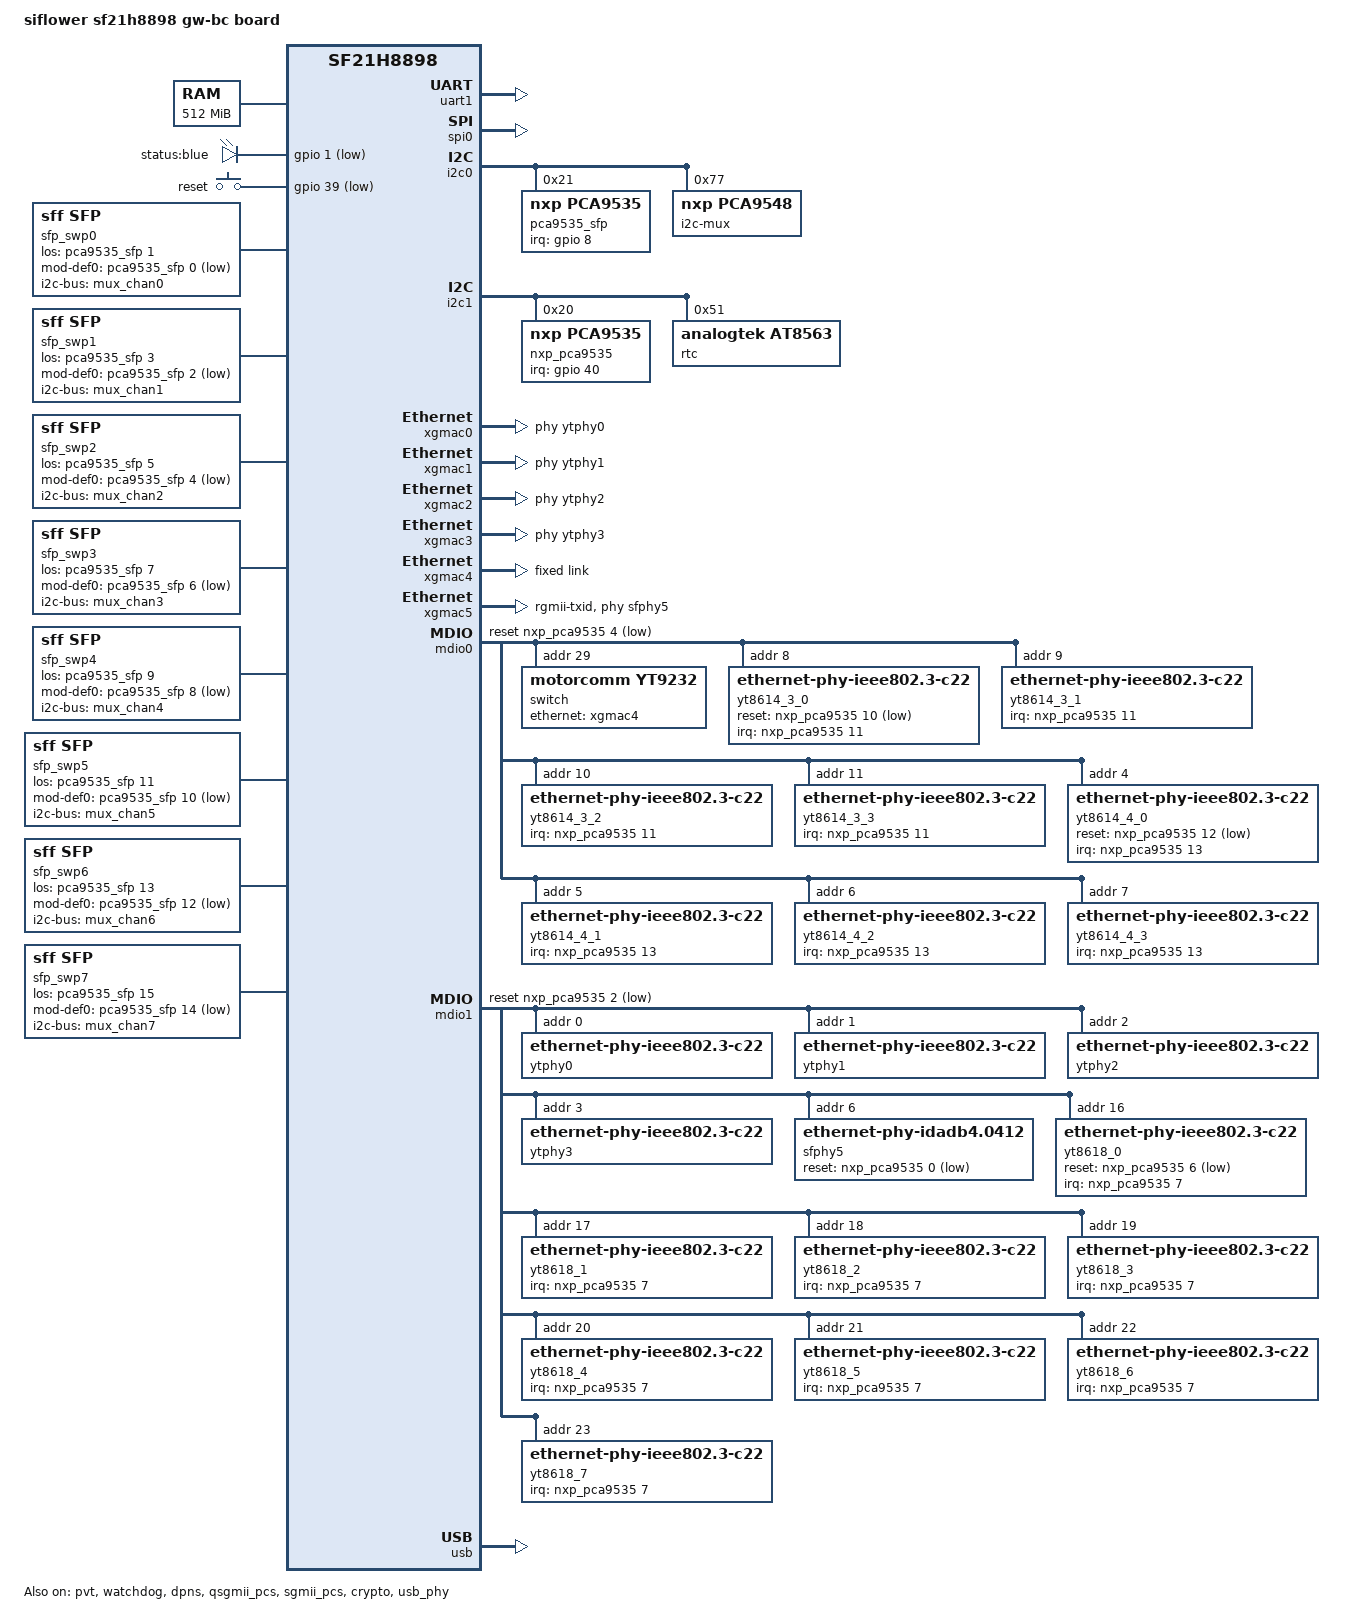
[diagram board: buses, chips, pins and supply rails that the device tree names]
/*
 * Copyright 2022 SiFlower Corporation.
 */

#include "sf21h8898.dtsi"

/ {
	model = "siflower sf21h8898 gw-bc board";
	compatible = "siflower,sf21h8898-gw-bc-nand", "siflower,sf21h8898";
	aliases {
		i2c0 = &i2c0;
		i2c1 = &i2c1;
		i2c2 = &mux_chan0;
		i2c3 = &mux_chan1;
		i2c4 = &mux_chan2;
		i2c5 = &mux_chan3;
		i2c6 = &mux_chan4;
		i2c7 = &mux_chan5;
		i2c8 = &mux_chan6;
		i2c9 = &mux_chan7;
	};

	chosen {
		stdout-path = "serial1:115200n8";
	};

	memory@20000000 {
		device_type = "memory";
		reg = <0x0 0x20000000 0x0 0x20000000>;
	};

	leds {
		compatible = "gpio-leds";

		led_status: led-status {
			label = "status:blue";
			gpios = <&gpio 1 GPIO_ACTIVE_LOW>;
		};
	};

	gpio_keys {
		compatible = "gpio-keys";
		reset {
			label = "reset";
			linux,code = <KEY_RESTART>;
			gpios = <&gpio 39 GPIO_ACTIVE_LOW>;
			debounce-interval = <20>;
		};
	};

	sfp_swp0: sfp-swp0 {
		compatible = "sff,sfp";
		i2c-bus = <&mux_chan0>;
		los-gpios = <&pca9535_sfp 1 GPIO_ACTIVE_HIGH>;
		mod-def0-gpios = <&pca9535_sfp 0 GPIO_ACTIVE_LOW>;
	};

	sfp_swp1: sfp-swp1 {
		compatible = "sff,sfp";
		i2c-bus = <&mux_chan1>;
		los-gpios = <&pca9535_sfp 3 GPIO_ACTIVE_HIGH>;
		mod-def0-gpios = <&pca9535_sfp 2 GPIO_ACTIVE_LOW>;
	};

	sfp_swp2: sfp-swp2 {
		compatible = "sff,sfp";
		i2c-bus = <&mux_chan2>;
		los-gpios = <&pca9535_sfp 5 GPIO_ACTIVE_HIGH>;
		mod-def0-gpios = <&pca9535_sfp 4 GPIO_ACTIVE_LOW>;
	};

	sfp_swp3: sfp-swp3 {
		compatible = "sff,sfp";
		i2c-bus = <&mux_chan3>;
		los-gpios = <&pca9535_sfp 7 GPIO_ACTIVE_HIGH>;
		mod-def0-gpios = <&pca9535_sfp 6 GPIO_ACTIVE_LOW>;
	};

	sfp_swp4: sfp-swp4 {
		compatible = "sff,sfp";
		i2c-bus = <&mux_chan4>;
		los-gpios = <&pca9535_sfp 9 GPIO_ACTIVE_HIGH>;
		mod-def0-gpios = <&pca9535_sfp 8 GPIO_ACTIVE_LOW>;
	};

	sfp_swp5: sfp-swp5 {
		compatible = "sff,sfp";
		i2c-bus = <&mux_chan5>;
		los-gpios = <&pca9535_sfp 11 GPIO_ACTIVE_HIGH>;
		mod-def0-gpios = <&pca9535_sfp 10 GPIO_ACTIVE_LOW>;
	};

	sfp_swp6: sfp-swp6 {
		compatible = "sff,sfp";
		i2c-bus = <&mux_chan6>;
		los-gpios = <&pca9535_sfp 13 GPIO_ACTIVE_HIGH>;
		mod-def0-gpios = <&pca9535_sfp 12 GPIO_ACTIVE_LOW>;
	};

	sfp_swp7: sfp-swp7 {
		compatible = "sff,sfp";
		i2c-bus = <&mux_chan7>;
		los-gpios = <&pca9535_sfp 15 GPIO_ACTIVE_HIGH>;
		mod-def0-gpios = <&pca9535_sfp 14 GPIO_ACTIVE_LOW>;
	};
};

&pvt {
	status = "okay";
};

&pcie0 {
	reset-gpios = <&gpio 9 GPIO_ACTIVE_LOW>;
	reset-ms = <100>;
	num-lanes = <1>;
	lane-mode = <0>;
	status = "disabled";
};

&watchdog {
	status = "okay";
};

&uart1 {
	status = "okay";
};

&spi0 {
	status = "okay";
};

&iomux {
	pca9535_int_gpio: pca9535-int-pins {
		pinctrl-single,pins = <PHY_INT GPIO_MODE>;
		// disable internal bias as it's externally (and weakly) pulled up
		pinctrl-single,bias-pullup = <0 SW_PU 0 SW_PU>;
		pinctrl-single,bias-pulldown = <0 SW_PD 0 SW_PD>;
	};
	pca9535_jtag_gpio: pca9535-jtag-pins {
		pinctrl-single,pins = <JTAG_TDO GPIO_MODE>;
		// disable internal bias as it's externally (and weakly) pulled up
		pinctrl-single,bias-pullup = <0 SW_PU 0 SW_PU>;
		pinctrl-single,bias-pulldown = <0 SW_PD 0 SW_PD>;
	};

};

&i2c0 {
	status = "okay";

	pca9535_sfp:gpio@21 {
		compatible = "nxp,pca9535";
		reg = <0x21>;
		gpio-controller;
		#gpio-cells =<2>;

		interrupt-controller;
		interrupts-extended = <&gpio 8 IRQ_TYPE_LEVEL_LOW>;
		#interrupt-cells = <2>;

		pinctrl-names = "default";
		pinctrl-0 = <&pca9535_jtag_gpio>;
	};

	i2c-mux@77 {
		compatible = "nxp,pca9548";
		reg = <0x77>;
		#address-cells = <1>;
		#size-cells = <0>;
		i2c-mux-idle-disconnect;

		mux_chan0: i2c@0 {
			reg = <0>;
			#address-cells = <1>;
			#size-cells = <0>;
		};

		mux_chan1: i2c@1 {
			reg = <1>;
			#address-cells = <1>;
			#size-cells = <0>;
		};

		mux_chan2: i2c@2 {
			reg = <2>;
			#address-cells = <1>;
			#size-cells = <0>;
		};

		mux_chan3: i2c@3 {
			reg = <3>;
			#address-cells = <1>;
			#size-cells = <0>;
		};

		mux_chan4: i2c@4 {
			reg = <4>;
			#address-cells = <1>;
			#size-cells = <0>;
		};

		mux_chan5: i2c@5 {
			reg = <5>;
			#address-cells = <1>;
			#size-cells = <0>;
		};

		mux_chan6: i2c@6 {
			reg = <6>;
			#address-cells = <1>;
			#size-cells = <0>;
		};

		mux_chan7: i2c@7 {
			reg = <7>;
			#address-cells = <1>;
			#size-cells = <0>;
		};
	};

};

&i2c1 {
	status = "okay";

	nxp_pca9535:gpio@20 {
		compatible = "nxp,pca9535";
		reg = <0x20>;
		gpio-controller;
		#gpio-cells =<2>;

		interrupt-controller;
		interrupts-extended = <&gpio 40 IRQ_TYPE_LEVEL_LOW>;
		#interrupt-cells = <2>;

		pinctrl-names = "default";
		pinctrl-0 = <&pca9535_int_gpio>;
	};

	rtc: rtc@51 {
		compatible = "analogtek,at8563", "nxp,pcf8563";
		reg = <0x51>;
		#clock-cells = <0>;
		// PCA9535 doesn't support level interrupt.
		// RTC alarm is useless for this board anyway.
		// interrupts-extended = <&nxp_pca9535 14 IRQ_TYPE_LEVEL_LOW>;
	};
};


&xgmac0 {
	status = "okay";
	phy-handle = <&ytphy0>;
	nvmem-cells = <&mtd_mac_address>;
	nvmem-cell-names = "mac-address";
};

&xgmac1 {
	status = "okay";
	phy-handle = <&ytphy1>;
	nvmem-cells = <&mtd_mac_address>;
	nvmem-cell-names = "mac-address";
};

&xgmac2 {
	status = "okay";
	phy-handle = <&ytphy2>;
	nvmem-cells = <&mtd_mac_address>;
	nvmem-cell-names = "mac-address";
};

&xgmac3 {
	status = "okay";
	phy-handle = <&ytphy3>;
	nvmem-cells = <&mtd_mac_address>;
	nvmem-cell-names = "mac-address";
};

&xgmac4 {
	status = "okay";
	nvmem-cells = <&mtd_mac_address>;
	nvmem-cell-names = "mac-address";

	fixed-link {
		speed = <2500>;
		full-duplex;
		pause;
		asym-pause;
	};
};

&xgmac5 {
	status = "okay";
	tx-internal-delay-ps = <2401>;
	rx-internal-delay-ps = <1372>;
	phy-mode = "rgmii-txid";
	phy-handle = <&sfphy5>;
	nvmem-cells = <&mtd_mac_address>;
	nvmem-cell-names = "mac-address";
	mac-address-increment = <1>;
};

&mdio0 {
	status = "okay";

	reset-gpios = <&nxp_pca9535 4 GPIO_ACTIVE_LOW>;
	reset-delay-us = <10000>;
	reset-post-delay-us = <100000>;

	switch@1d {
		compatible = "motorcomm,yt9232";
		reg = <0x1d>;

		ports {
			#address-cells = <1>;
			#size-cells = <0>;

			port@0 {
				reg = <0x0>;
				phy-handle = <&yt8618_0>;
			};

			port@1 {
				reg = <0x1>;
				phy-handle = <&yt8618_1>;
			};

			port@2 {
				reg = <0x2>;
				phy-handle = <&yt8618_2>;
			};

			port@3 {
				reg = <0x3>;
				phy-handle = <&yt8618_3>;
			};

			port@4 {
				reg = <0x4>;
				phy-handle = <&yt8618_4>;
			};

			port@5 {
				reg = <0x5>;
				phy-handle = <&yt8618_5>;
			};

			port@6 {
				reg = <0x6>;
				phy-handle = <&yt8618_6>;
			};

			port@7 {
				reg = <0x7>;
				phy-handle = <&yt8618_7>;
			};

			port@8 {
				reg = <0x8>;
			};

			port@9 {
				reg = <0x9>;
			};

			port@a {
				reg = <0xa>;
			};

			port@b {
				reg = <0xb>;
			};

			port@c {
				reg = <0xc>;
			};

			port@d {
				reg = <0xd>;
			};

			port@e {
				reg = <0xe>;
			};

			port@f {
				reg = <0xf>;
			};

			port@10 {
				reg = <0x10>;
				phy-handle = <&yt8614_3_0>;
			};

			port@11 {
				reg = <0x11>;
				phy-handle = <&yt8614_3_1>;
			};

			port@12 {
				reg = <0x12>;
				phy-handle = <&yt8614_3_2>;
			};

			port@13 {
				reg = <0x13>;
				phy-handle = <&yt8614_3_3>;
			};

			port@14 {
				reg = <0x14>;
				phy-handle = <&yt8614_4_0>;
			};

			port@15 {
				reg = <0x15>;
				phy-handle = <&yt8614_4_1>;
			};

			port@16 {
				reg = <0x16>;
				phy-handle = <&yt8614_4_2>;
			};

			port@17 {
				reg = <0x17>;
				phy-handle = <&yt8614_4_3>;
			};

			port@18 {
				reg = <0x18>;
				ethernet = <&xgmac4>;
			};
		};
	};

	yt8614_3_0: ethernet-phy@8 {
		compatible = "ethernet-phy-ieee802.3-c22";
		interrupts-extended = <&nxp_pca9535 11 IRQ_TYPE_EDGE_FALLING>;
		reg = <0x8>;
		reset-gpios = <&nxp_pca9535 10 GPIO_ACTIVE_LOW>;
		reset-delay-us = <10000>;
		reset-post-delay-us = <100000>;
	};

	yt8614_3_1: ethernet-phy@9 {
		compatible = "ethernet-phy-ieee802.3-c22";
		interrupts-extended = <&nxp_pca9535 11 IRQ_TYPE_EDGE_FALLING>;
		reg = <0x9>;
	};

	yt8614_3_2: ethernet-phy@a {
		compatible = "ethernet-phy-ieee802.3-c22";
		interrupts-extended = <&nxp_pca9535 11 IRQ_TYPE_EDGE_FALLING>;
		reg = <0xa>;
	};

	yt8614_3_3: ethernet-phy@b {
		compatible = "ethernet-phy-ieee802.3-c22";
		interrupts-extended = <&nxp_pca9535 11 IRQ_TYPE_EDGE_FALLING>;
		reg = <0xb>;
	};

	yt8614_4_0: ethernet-phy@4 {
		compatible = "ethernet-phy-ieee802.3-c22";
		interrupts-extended = <&nxp_pca9535 13 IRQ_TYPE_EDGE_FALLING>;
		reg = <0x4>;
		reset-gpios = <&nxp_pca9535 12 GPIO_ACTIVE_LOW>;
		reset-delay-us = <10000>;
		reset-post-delay-us = <100000>;
	};

	yt8614_4_1: ethernet-phy@5 {
		compatible = "ethernet-phy-ieee802.3-c22";
		interrupts-extended = <&nxp_pca9535 13 IRQ_TYPE_EDGE_FALLING>;
		reg = <0x5>;
	};

	yt8614_4_2: ethernet-phy@6 {
		compatible = "ethernet-phy-ieee802.3-c22";
		interrupts-extended = <&nxp_pca9535 13 IRQ_TYPE_EDGE_FALLING>;
		reg = <0x6>;
	};

	yt8614_4_3: ethernet-phy@7 {
		compatible = "ethernet-phy-ieee802.3-c22";
		interrupts-extended = <&nxp_pca9535 13 IRQ_TYPE_EDGE_FALLING>;
		reg = <0x7>;
	};
};

&mdio1 {
	status = "okay";

	reset-gpios = <&nxp_pca9535 2 GPIO_ACTIVE_LOW>;
	reset-delay-us = <10000>;
	reset-post-delay-us = <100000>;

	ytphy0: ethernet-phy@0 {
		compatible = "ethernet-phy-ieee802.3-c22";
		reg = <0x0>;
	};

	ytphy1: ethernet-phy@1 {
		compatible = "ethernet-phy-ieee802.3-c22";
		reg = <0x1>;
	};

	ytphy2: ethernet-phy@2 {
		compatible = "ethernet-phy-ieee802.3-c22";
		reg = <0x2>;
	};

	ytphy3: ethernet-phy@3 {
		compatible = "ethernet-phy-ieee802.3-c22";
		reg = <0x3>;
	};

	sfphy5: ethernet-phy@6 {
		compatible = "ethernet-phy-idadb4.0412";
		reg = <0x6>;
		reset-gpios = <&nxp_pca9535 0 GPIO_ACTIVE_LOW>;
		reset-assert-us = <10000>;
		reset-deassert-us = <100000>;
	};

	yt8618_0:ethernet-phy@10 {
		compatible = "ethernet-phy-ieee802.3-c22";
		interrupts-extended = <&nxp_pca9535 7 IRQ_TYPE_EDGE_FALLING>;
		reg = <0x10>;
		reset-gpios = <&nxp_pca9535 6 GPIO_ACTIVE_LOW>;
		reset-assert-us = <10000>;
		reset-deassert-us = <100000>;
	};

	yt8618_1:ethernet-phy@11 {
		compatible = "ethernet-phy-ieee802.3-c22";
		interrupts-extended = <&nxp_pca9535 7 IRQ_TYPE_EDGE_FALLING>;
		reg = <0x11>;
	};

	yt8618_2:ethernet-phy@12 {
		compatible = "ethernet-phy-ieee802.3-c22";
		interrupts-extended = <&nxp_pca9535 7 IRQ_TYPE_EDGE_FALLING>;
		reg = <0x12>;
	};

	yt8618_3:ethernet-phy@13 {
		compatible = "ethernet-phy-ieee802.3-c22";
		interrupts-extended = <&nxp_pca9535 7 IRQ_TYPE_EDGE_FALLING>;
		reg = <0x13>;
	};

	yt8618_4:ethernet-phy@14 {
		compatible = "ethernet-phy-ieee802.3-c22";
		interrupts-extended = <&nxp_pca9535 7 IRQ_TYPE_EDGE_FALLING>;
		reg = <0x14>;
	};

	yt8618_5:ethernet-phy@15 {
		compatible = "ethernet-phy-ieee802.3-c22";
		interrupts-extended = <&nxp_pca9535 7 IRQ_TYPE_EDGE_FALLING>;
		reg = <0x15>;
	};

	yt8618_6:ethernet-phy@16 {
		compatible = "ethernet-phy-ieee802.3-c22";
		interrupts-extended = <&nxp_pca9535 7 IRQ_TYPE_EDGE_FALLING>;
		reg = <0x16>;
	};

	yt8618_7:ethernet-phy@17 {
		compatible = "ethernet-phy-ieee802.3-c22";
		interrupts-extended = <&nxp_pca9535 7 IRQ_TYPE_EDGE_FALLING>;
		reg = <0x17>;
	};
};

&dpns {
	status = "okay";
};

&edma {
	status = "okay";
};

&qsgmii_pcs {
	status = "okay";
};

&sgmii_pcs {
	status = "okay";
};

&crypto {
	status = "okay";
};

&usb_phy {
	status = "okay";
};

&usb {
	status = "okay";
};
